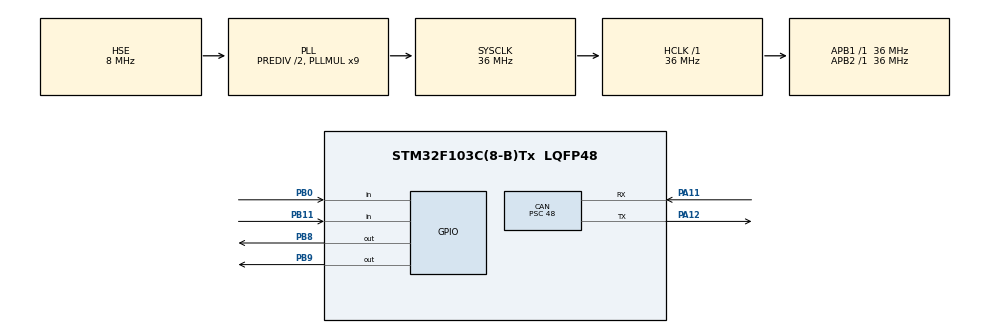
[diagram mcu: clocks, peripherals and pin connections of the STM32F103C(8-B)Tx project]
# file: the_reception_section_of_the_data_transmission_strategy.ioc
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CAN.BS1=CAN_BS1_3TQ
CAN.BS2=CAN_BS2_2TQ
CAN.CalculateBaudRate=124999
CAN.CalculateTimeBit=8000
CAN.CalculateTimeQuantum=1333.3333333333335
CAN.Mode=CAN_MODE_NORMAL
CAN.Prescaler=48
CAN.SJW=CAN_SJW_2TQ
Mcu.Family=STM32F1
Mcu.Name=STM32F103C(8-B)Tx
Mcu.Package=LQFP48
NVIC.PriorityGroup=NVIC_PRIORITYGROUP_4
PA11.Mode=CAN_Activate
PA11.Signal=CAN_RX
PA12.Mode=CAN_Activate
PA12.Signal=CAN_TX
PA13.Mode=Serial_Wire
PA13.Signal=SYS_JTMS-SWDIO
PA14.Mode=Serial_Wire
PA14.Signal=SYS_JTCK-SWCLK
PB0.GPIO_PuPd=GPIO_PULLUP
PB0.Signal=GPIO_Input
PB11.GPIO_PuPd=GPIO_PULLUP
PB11.Signal=GPIO_Input
PB8.GPIO_ModeDefaultOutputPP=GPIO_MODE_OUTPUT_OD
PB8.GPIO_PuPd=GPIO_NOPULL
PB8.Signal=GPIO_Output
PB9.GPIO_ModeDefaultOutputPP=GPIO_MODE_OUTPUT_OD
PB9.GPIO_PuPd=GPIO_NOPULL
PB9.PinState=GPIO_PIN_RESET
PB9.Signal=GPIO_Output
PC14-OSC32_IN.Mode=LSE-External-Oscillator
PC14-OSC32_IN.Signal=RCC_OSC32_IN
PC15-OSC32_OUT.Mode=LSE-External-Oscillator
PC15-OSC32_OUT.Signal=RCC_OSC32_OUT
PD0-OSC_IN.Mode=HSE-External-Oscillator
PD0-OSC_IN.Signal=RCC_OSC_IN
PD1-OSC_OUT.Mode=HSE-External-Oscillator
PD1-OSC_OUT.Signal=RCC_OSC_OUT
ProjectManager.HeapSize=0x200
ProjectManager.StackSize=0x400
ProjectManager.TargetToolchain=STM32CubeIDE
RCC.AHBFreq_Value=36000000
RCC.APB1Freq_Value=36000000
RCC.APB1TimFreq_Value=36000000
RCC.APB2Freq_Value=36000000
RCC.APB2TimFreq_Value=36000000
RCC.HCLKFreq_Value=36000000
RCC.HSEDivPLL=RCC_HSE_PREDIV_DIV2
RCC.PLLMUL=RCC_PLL_MUL9
RCC.PLLSourceVirtual=RCC_PLLSOURCE_HSE
RCC.SYSCLKFreq_VALUE=36000000
RCC.SYSCLKSource=RCC_SYSCLKSOURCE_PLLCLK
RCC.USBFreq_Value=36000000
board=custom

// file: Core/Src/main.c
/* USER CODE BEGIN Header */
/**
 ******************************************************************************
 * @file           : main.c
 * @brief          : Main program body
 ******************************************************************************
 * @attention
 *
 * Copyright (c) 2026 STMicroelectronics.
 * All rights reserved.
 *
 * This software is licensed under terms that can be found in the LICENSE file
 * in the root directory of this software component.
 * If no LICENSE file comes with this software, it is provided AS-IS.
 *
 ******************************************************************************
 */
/* USER CODE END Header */
#include "main.h"
#include "can.h"
#include "gpio.h"

/* USER CODE BEGIN Includes */
#include "OLED.h"
#include "Key.h"
/* USER CODE END Includes */

/* USER CODE BEGIN PV */
CAN_RxHeaderTypeDef RxMsg =
{
		0

};

uint8_t RxMsg_Data[8] =
{
		0 };

uint8_t KeyNum = 0;
CAN_TxHeaderTypeDef TxMsg_Request_Remote =
{
		.StdId = 0x300,
		.ExtId = 0x00000000,
		.IDE = CAN_ID_STD,
		.RTR = CAN_RTR_REMOTE,
		.DLC = 0 };
uint8_t TxMsg_Request_Remote_buff[8] =
{
		0

};

CAN_TxHeaderTypeDef TxMsg_Request_Data =
{
		.StdId = 0x300,
		.ExtId = 0x00000000,
		.IDE = CAN_ID_STD,
		.RTR = CAN_RTR_DATA,
		.DLC = 0 };
uint8_t TxMsg_Request_Data_buff[8] =
{
		0

};

/* USER CODE END PV */

void SystemClock_Config(void);

int main(void)
{

	/* MCU Configuration--------------------------------------------------------*/

	/* Reset of all peripherals, Initializes the Flash interface and the Systick. */
	HAL_Init();

	/* Configure the system clock */
	SystemClock_Config();

	/* Initialize all configured peripherals */
	MX_GPIO_Init();
	MX_CAN_Init();
	/* USER CODE BEGIN 2 */
	OLED_Init();

	OLED_ShowString(1, 1, "Rx :");
	OLED_ShowString(2, 1, "Tim:");
	OLED_ShowString(3, 1, "Tri:");
	OLED_ShowString(4, 1, "Req:");
	HAL_Delay(100);
	/* USER CODE END 2 */

	/* Infinite loop */
	/* USER CODE BEGIN WHILE */
	while (1)
	{
		KeyNum = Key_GetNum();
		if (KeyNum == 1)
		{
			MyCAN_Transmit(TxMsg_Request_Remote, TxMsg_Request_Remote_buff);
		}
		if (KeyNum == 2)
		{
			MyCAN_Transmit(TxMsg_Request_Data, TxMsg_Request_Data_buff);
		}

		if (MyCAN_ReceiveFlag() == 1)
		{
			MyCAN_Receive(&RxMsg, RxMsg_Data);

			if (RxMsg.RTR == CAN_RTR_DATA)
			{

				if (RxMsg.StdId == 0x100 && RxMsg.IDE == CAN_ID_STD)
				{
					OLED_ShowHexNum(2, 5, RxMsg_Data[0], 2);
					OLED_ShowHexNum(2, 8, RxMsg_Data[1], 2);
					OLED_ShowHexNum(2, 11, RxMsg_Data[2], 2);
					OLED_ShowHexNum(2, 14, RxMsg_Data[3], 2);
				}

				if (RxMsg.StdId == 0x200 && RxMsg.IDE == CAN_ID_STD)
				{
					OLED_ShowHexNum(3, 5, RxMsg_Data[0], 2);
					OLED_ShowHexNum(3, 8, RxMsg_Data[1], 2);
					OLED_ShowHexNum(3, 11, RxMsg_Data[2], 2);
					OLED_ShowHexNum(3, 14, RxMsg_Data[3], 2);
				}

				if (RxMsg.StdId == 0x300 && RxMsg.IDE == CAN_ID_STD)
				{
					OLED_ShowHexNum(4, 5, RxMsg_Data[0], 2);
					OLED_ShowHexNum(4, 8, RxMsg_Data[1], 2);
					OLED_ShowHexNum(4, 11, RxMsg_Data[2], 2);
					OLED_ShowHexNum(4, 14, RxMsg_Data[3], 2);
				}
			}

		}

		/* USER CODE END WHILE */

	}
}

void SystemClock_Config(void)
{
	RCC_OscInitTypeDef RCC_OscInitStruct =
	{
			0 };
	RCC_ClkInitTypeDef RCC_ClkInitStruct =
	{
			0 };

	/** Initializes the RCC Oscillators according to the specified parameters
	 * in the RCC_OscInitTypeDef structure.
	 */
	RCC_OscInitStruct.OscillatorType = RCC_OSCILLATORTYPE_HSE;
	RCC_OscInitStruct.HSEState = RCC_HSE_ON;
	RCC_OscInitStruct.HSEPredivValue = RCC_HSE_PREDIV_DIV2;
	RCC_OscInitStruct.HSIState = RCC_HSI_ON;
	RCC_OscInitStruct.PLL.PLLState = RCC_PLL_ON;
	RCC_OscInitStruct.PLL.PLLSource = RCC_PLLSOURCE_HSE;
	RCC_OscInitStruct.PLL.PLLMUL = RCC_PLL_MUL9;
	if (HAL_RCC_OscConfig(&RCC_OscInitStruct) != HAL_OK)
	{
		Error_Handler();
	}

	/** Initializes the CPU, AHB and APB buses clocks
	 */
	RCC_ClkInitStruct.ClockType = RCC_CLOCKTYPE_HCLK | RCC_CLOCKTYPE_SYSCLK
			| RCC_CLOCKTYPE_PCLK1 | RCC_CLOCKTYPE_PCLK2;
	RCC_ClkInitStruct.SYSCLKSource = RCC_SYSCLKSOURCE_PLLCLK;
	RCC_ClkInitStruct.AHBCLKDivider = RCC_SYSCLK_DIV1;
	RCC_ClkInitStruct.APB1CLKDivider = RCC_HCLK_DIV1;
	RCC_ClkInitStruct.APB2CLKDivider = RCC_HCLK_DIV1;

	if (HAL_RCC_ClockConfig(&RCC_ClkInitStruct, FLASH_LATENCY_1) != HAL_OK)
	{
		Error_Handler();
	}
}

void Error_Handler(void)
{
	__disable_irq();
	while (1)
	{
	}
}
